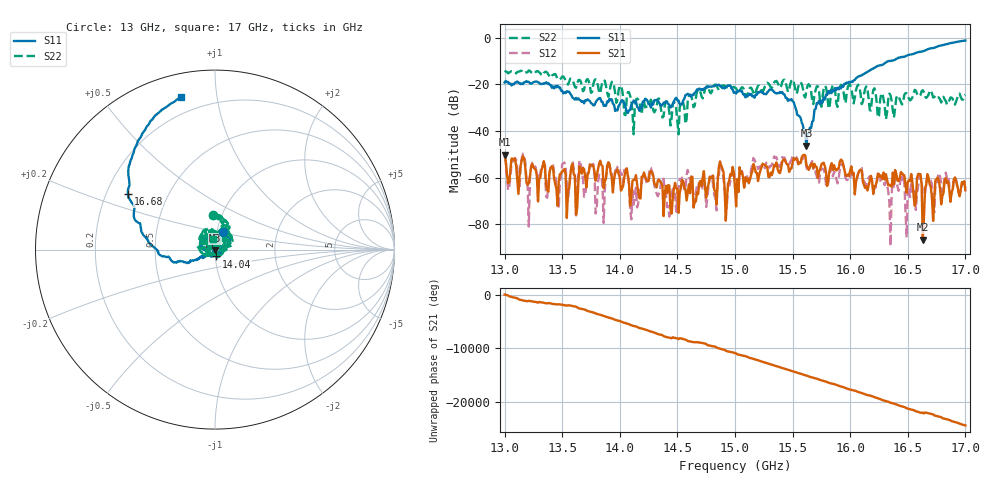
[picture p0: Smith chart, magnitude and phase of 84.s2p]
!Keysight Technologies,P9374A,MY57211807,A.19.30.04
!Date: Friday, May 01, 2026 14:29:02
!Correction: S11(C  2-Port  )
!S21(C  2-Port  )
!S12(C  2-Port  )
!S22(C  2-Port  )
!S2P File: Measurements: S11, S21, S12, S22:
# Hz S  RI  R 50
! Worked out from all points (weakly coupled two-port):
!   401 points, 13 GHz to 17 GHz, reference 50 ohm
!   highest |S21| = -50.20 dB at 13 GHz (marker M1); lowest = -86.7 dB at 16.63 GHz (marker M2)
!   lowest |S11| = -46.3 dB at 15.62 GHz (marker M3), VSWR 1.01, Z = 50.1 - j0.471 ohm
!   |S11| at or under -10 dB: start of sweep to 16.34 GHz; 16.349 GHz to 16.35039 GHz (1.394 MHz wide, 0.00853 % of centre)
!   |S22| runs from -41.4 to -14.0 dB; largest |S21 - S12| = 0.0015
!   S11 on the Smith chart (normalised r, x): 13 GHz: 1.08, +0.21; 14.04 GHz: 1.01, -0.08; 16.68 GHz: 0.29, +0.27; 17 GHz: 0.11, +0.80
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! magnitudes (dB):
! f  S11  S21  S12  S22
! 13 GHz  -19.2  -50.2  -50.8  -14.2
! 13.04 GHz  -19.8  -62.1  -63.8  -15.0
! 13.16 GHz  -19.9  -50.8  -49.7  -15.1
! 13.21 GHz  -18.9  -62.4  -81.0  -14.0
! 13.25 GHz  -19.1  -55.5  -54.4  -15.2
! 13.47 GHz  -21.3  -61.5  -73.3  -18.0
! 13.59 GHz  -25.7  -54.1  -52.8  -18.1
! 13.62 GHz  -25.8  -75.9  -76.2  -21.5
! 13.67 GHz  -27.5  -58.3  -57.9  -20.5
! 14.04 GHz  -28.2  -59.6  -56.6  -32.9
! 14.11 GHz  -28.1  -61.4  -64.9  -31.7
! 14.27 GHz  -30.0  -57.1  -55.9  -26.6
! 14.34 GHz  -27.7  -60.8  -66.5  -26.0
! 15 GHz  -23.5  -64.5  -63.0  -21.4
! 15.41 GHz  -23.3  -53.1  -51.2  -19.0
! 15.62 GHz  -46.3  -54.5  -55.6  -22.7
! 15.67 GHz  -36.0  -53.9  -52.9  -26.9
! 16.34 GHz  -9.9  -63.0  -70.5  -24.0
! 16.6 GHz  -6.1  -58.4  -58.9  -25.0
! 16.63 GHz  -5.9  -86.7  -66.0  -22.5
! 16.68 GHz  -4.8  -60.1  -60.0  -24.4
! 17 GHz  -1.2  -65.4  -64.5  -24.5
